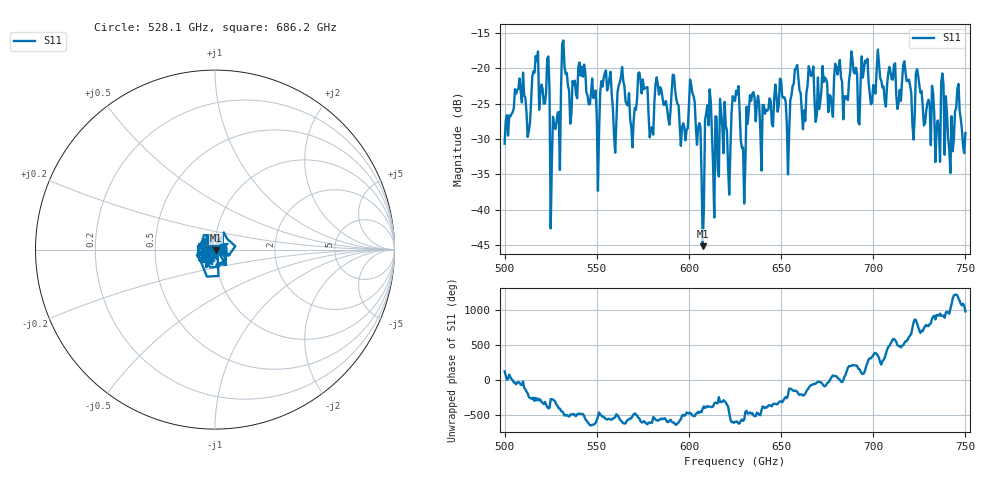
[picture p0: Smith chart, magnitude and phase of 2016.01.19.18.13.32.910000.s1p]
!Created with skrf (http://scikit-rf.org).
# GHz S RI R 50.0
!freq ReS11 ImS11
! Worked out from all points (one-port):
!   401 points, 500 GHz to 750 GHz, reference 50 ohm
!   lowest |S11| = -45.1 dB at 607.5 GHz (marker M1), VSWR 1.01, Z = 50.4 - j0.344 ohm
!   |S11| at or under -10 dB: start of sweep to end of sweep
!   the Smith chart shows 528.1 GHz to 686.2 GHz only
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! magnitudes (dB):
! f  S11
! 500 GHz  -30.7
! 506.9 GHz  -23.0
! 513.1 GHz  -28.9
! 516.9 GHz  -18.3
! 523.1 GHz  -18.6
! 526.2 GHz  -26.9
! 531.2 GHz  -16.6
! 541.9 GHz  -19.8
! 550 GHz  -26.7
! 562.5 GHz  -22.0
! 569.4 GHz  -31.2
! 573.8 GHz  -21.8
! 579.4 GHz  -28.6
! 583.1 GHz  -22.3
! 593.8 GHz  -25.0
! 601.9 GHz  -23.5
! 607.5 GHz  -45.1
! 610.6 GHz  -28.1
! 615 GHz  -26.9
! 621.9 GHz  -37.9
! 625 GHz  -24.6
! 629.4 GHz  -31.2
! 634.4 GHz  -23.6
! 653.8 GHz  -35.0
! 656.2 GHz  -22.5
! 687.5 GHz  -20.5
! 718.8 GHz  -21.8
! 750 GHz  -29.1
